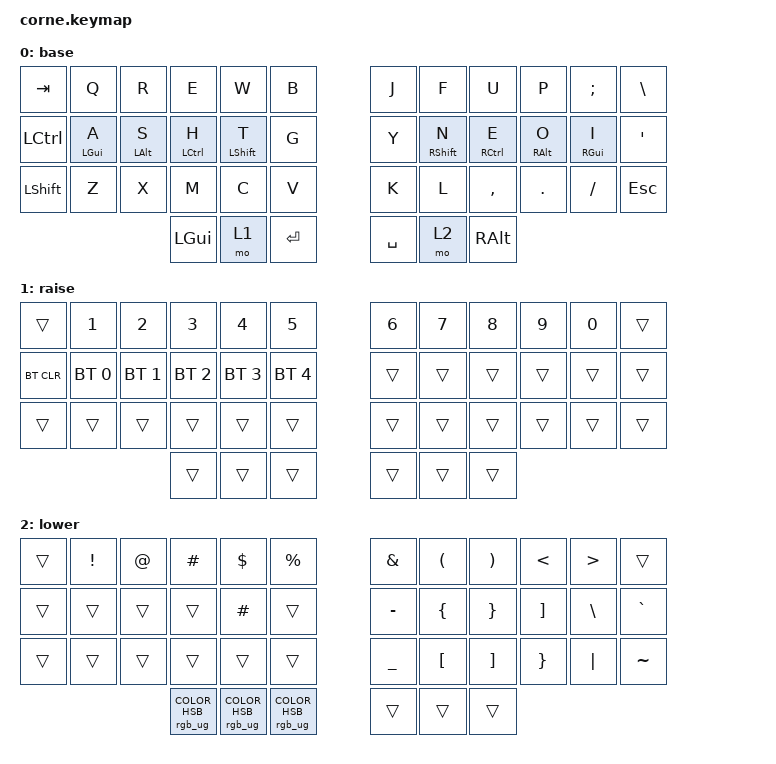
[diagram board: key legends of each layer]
/*
 * Copyright (c) 2020 The ZMK Contributors
 *
 * SPDX-License-Identifier: MIT
 */

#include <behaviors.dtsi>
#include <dt-bindings/zmk/keys.h>
#include <dt-bindings/zmk/bt.h>
#include <dt-bindings/zmk/rgb.h>

/ {
    behaviors {
        hm: homerow_mods {
            compatible = "zmk,behavior-hold-tap";
            label = "HOMEROW_MODS";
            #binding-cells = <2>;
            tapping-term-ms = <150>;
            quick-tap-ms = <0>;
            flavor = "tap-preferred";
            bindings =
                <&kp>,
                <&kp>;
        };
    };

    combos {
        compatible = "zmk,combos";

        tab {
            bindings = <&trans>;
            key-positions = <2 3>;
        };

        ctrl {
            bindings = <&kp LCTRL>;
            key-positions = <26 27>;
        };

        cmd {
            bindings = <&kp LCMD>;
            key-positions = <37 38>;
        };

        alt {
            bindings = <&kp LEFT_ALT>;
            key-positions = <39 40>;
        };

        shift {
            bindings = <&kp LSHIFT>;
            key-positions = <8 9>;
        };

        caps_word {
            bindings = <&caps_word>;
            key-positions = <17 18>;
        };

        delete {
            bindings = <&kp DEL>;
            key-positions = <32 33>;
        };
    };

    macros {
        zed_em_kay: zed_em_kay {
            compatible = "zmk,behavior-macro";
            label = "ZM_zed_em_kay";
            #binding-cells = <0>;
            bindings =
                <&macro_press>,
                <&kp LSHFT>,
                <&macro_tap>,
                <&kp Z &kp M &kp K>,
                <&macro_release>,
                <&kp LSHFT>;
        };
    };

    keymap {
        compatible = "zmk,keymap";

        base {
            bindings = <
   &kp TAB       &kp Q       &kp R        &kp E         &kp W    &kp B              &kp J         &kp F        &kp U       &kp P    &kp SEMI  &kp BSLH
 &kp LCTRL  &hm LGUI A  &hm LALT S  &hm LCTRL H  &hm LSHIFT T    &kp G              &kp Y  &hm RSHIFT N  &hm RCTRL E  &hm RALT O  &hm RGUI I  &kp APOS
 &kp LSHFT       &kp Z       &kp X        &kp M         &kp C    &kp V              &kp K         &kp L    &kp COMMA     &kp DOT    &kp FSLH   &kp ESC
                                       &kp LGUI         &mo 1  &kp RET          &kp SPACE         &mo 2     &kp RALT
            >;
        };

        raise {
            bindings = <
     &trans        &kp N1        &kp N2        &kp N3        &kp N4        &kp N5          &kp N6  &kp N7  &kp N8  &kp N9  &kp N0  &trans
 &bt BT_CLR  &bt BT_SEL 0  &bt BT_SEL 1  &bt BT_SEL 2  &bt BT_SEL 3  &bt BT_SEL 4          &trans  &trans  &trans  &trans  &trans  &trans
     &trans        &trans        &trans        &trans        &trans        &trans          &trans  &trans  &trans  &trans  &trans  &trans
                                               &trans        &trans        &trans          &trans  &trans  &trans
            >;
        };

        lower {
            bindings = <
 &trans  &kp EXCL  &kp AT                        &kp HASH                          &kp DLLR                         &kp PRCNT           &kp AMPS  &kp LEFT_PARENTHESIS  &kp RIGHT_PARENTHESIS  &kp LESS_THAN  &kp GREATER_THAN     &trans
 &trans    &trans  &trans                          &trans                         &kp POUND                            &trans          &kp MINUS        &kp LEFT_BRACE        &kp RIGHT_BRACE       &kp RBKT          &kp BSLH  &kp GRAVE
 &trans    &trans  &trans                          &trans                            &trans                            &trans          &kp UNDER      &kp LEFT_BRACKET      &kp RIGHT_BRACKET       &kp RBRC          &kp PIPE  &kp TILDE
                           &rgb_ug RGB_COLOR_HSB(0,50,56)  &rgb_ug RGB_COLOR_HSB(104,57,55)  &rgb_ug RGB_COLOR_HSB(209,50,55)             &trans                &trans                 &trans
            >;
        };
    };
};
